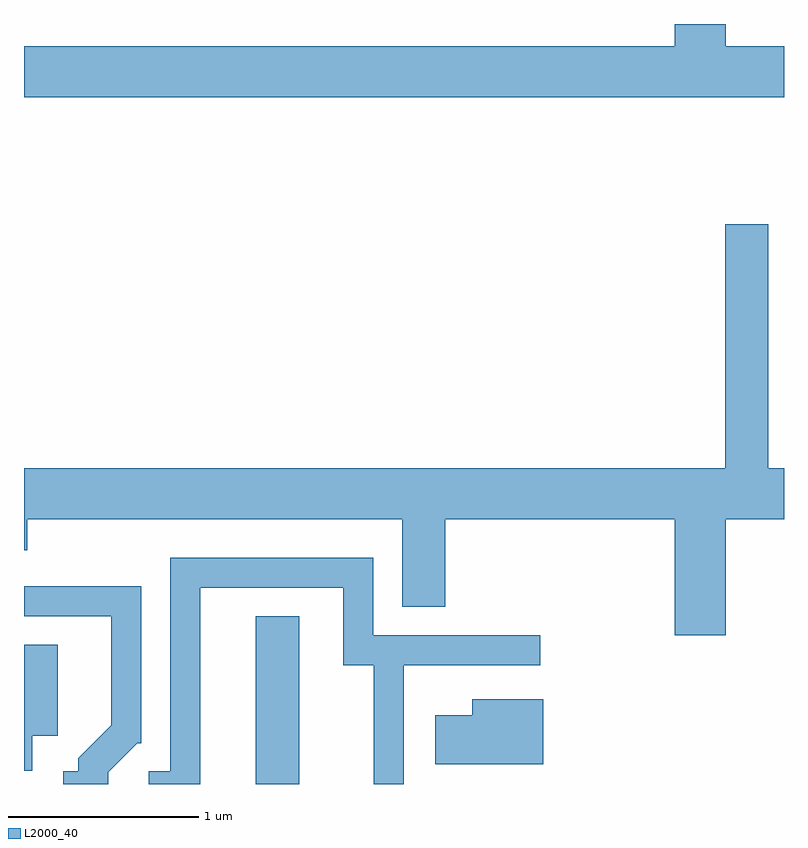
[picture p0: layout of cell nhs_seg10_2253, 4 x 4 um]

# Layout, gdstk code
import gdstk
lib = gdstk.Library(unit=1e-6, precision=1e-09)
def R(c, l, rs):  # rectangles x0, y0, x1, y1
    for r in rs: c.add(gdstk.rectangle(r[:2], r[2:], *l))
def P(c, l, *ps):  # polygons
    for p in ps: c.add(gdstk.Polygon(p, *l))
L2000_40 = (2000, 40)

nhs_seg10_2253 = lib.new_cell('nhs_seg10_2253')
R(nhs_seg10_2253, L2000_40, [(252.831,2112.522,253.059,2113.404)])
P(nhs_seg10_2253, L2000_40, [(255.611,2116.404),(255.304,2116.404),(255.304,2116.522),(255.036,2116.522),(255.036,2116.404),(251.611,2116.404),(251.611,2116.136),(255.611,2116.136)],
  [(255.304,2113.916),(255.611,2113.916),(255.611,2114.184),(255.529,2114.184),(255.529,2115.469),(255.301,2115.469),(255.301,2114.184),(251.611,2114.184),(251.611,2113.751),(251.629,2113.751),(251.629,2113.916),(253.601,2113.916),(253.601,2113.456),(253.829,2113.456),(253.829,2113.916),(255.036,2113.916),(255.036,2113.306),(255.304,2113.306)],
  [(252.539,2113.556),(253.291,2113.556),(253.291,2113.146),(253.451,2113.146),(253.451,2112.522),(253.609,2112.522),(253.609,2113.146),(254.328,2113.146),(254.328,2113.304),(253.449,2113.304),(253.449,2113.714),(252.381,2113.714),(252.381,2112.589),(252.268,2112.589),(252.268,2112.522),(252.539,2112.522)],
  [(252.054,2112.584),(252.207,2112.736),(252.229,2112.736),(252.229,2113.564),(251.611,2113.564),(251.611,2113.406),(252.071,2113.406),(252.071,2112.832),(251.896,2112.657),(251.896,2112.589),(251.818,2112.589),(251.818,2112.522),(252.054,2112.522)],
  [(251.654,2112.776),(251.789,2112.776),(251.789,2113.254),(251.611,2113.254),(251.611,2112.591),(251.654,2112.591)],
  [(254.344,2112.969),(253.971,2112.969),(253.971,2112.884),(253.776,2112.884),(253.776,2112.626),(254.344,2112.626)])

lib.write_gds('nhs_seg10_2253.gds')
